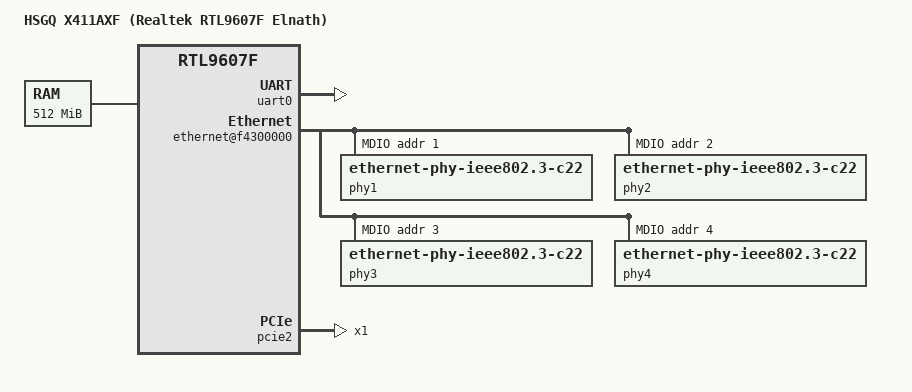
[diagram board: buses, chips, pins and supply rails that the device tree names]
// SPDX-License-Identifier: GPL-2.0-or-later
/*
 * HSGQ X411AXF — Realtek RTL9607F "Elnath" GPON ONU.
 *
 * The RTL9607F is a Cortina-Access "Venus"-family SoC (dual Cortex-A55,
 * GICv3) that Realtek productized after acquiring Cortina Access. This is a
 * minimal M1 device tree: enough to reach a serial console + initramfs shell
 * when the image is TFTP'd into RAM and booted by the vendor U-Boot. The
 * switch/GPON/WiFi nodes are added as their clean-room drivers land.
 *
 * Hardware facts (base MMIO 0xf43xxxxx; GIC lives above 4 GB at 0x4_f80xxxxx):
 *   - 2x Cortex-A55 @ up to 1.2 GHz, PSCI (SMC) secondary bring-up
 *   - DDR3, 512 MiB at physical 0x0
 *   - Console = Cortina custom-register UART at 0xf43291c0, GIC SPI 4,
 *     clocked by an always-on 125 MHz fixed clock (no PLL driver needed)
 */

/dts-v1/;

/ {
	model = "HSGQ X411AXF (Realtek RTL9607F Elnath)";
	compatible = "hsgq,x411axf", "realtek,rtl9607f";
	#address-cells = <0x02>;
	#size-cells = <0x02>;
	interrupt-parent = <&gic>;

	aliases {
		serial0 = &uart0;
	};

	chosen {
		stdout-path = "serial0:115200n8";
		bootargs = "earlycon console=ttyS0,115200 rootfstype=squashfs";
	};

	memory@0 {
		device_type = "memory";
		/* 512 MiB at 0x0 */
		reg = <0x00 0x00 0x00 0x20000000>;
	};

	/*
	 * The Cortina NI packet engine's two DMA pools live inside our DRAM and
	 * must be carved out: a small coherent descriptor buffer and the large
	 * non-cached packet-buffer pool. Both are below the TFTP load addr
	 * (0x05000000) region we boot from, so no collision.
	 */
	reserved-memory {
		#address-cells = <0x02>;
		#size-cells = <0x02>;
		ranges;

		/* ★★ build79: no-map so the CPU-EPP ring region is carved OUT of the RAM
		 * linear map -> memremap(MEMREMAP_WC) SUCCEEDS on it (build78's WC was
		 * REJECTED because a mapped System-RAM region can't be remapped WC).  The
		 * NE DMA is non-coherent, so the ring MUST be uncached; WC on a no-map
		 * carveout gives an uncached CPU view without touching NAPI/dma_sync. */
		ddr_cache_buffer: buf@bc48000 {
			no-map;
			reg = <0x00 0x0bc48000 0x00 0x20000>;
		};

		ddr_noncache_buffer: buf@9000000 {
			no-map;
			reg = <0x00 0x09000000 0x00 0x1628800>;
		};
	};

	psci {
		compatible = "arm,psci-0.2";
		method = "smc";
	};

	cpus {
		#address-cells = <0x02>;
		#size-cells = <0x00>;

		cpu0: cpu@0 {
			device_type = "cpu";
			compatible = "arm,cortex-a55";
			reg = <0x00 0x00>;
			enable-method = "psci";
		};

		cpu1: cpu@100 {
			device_type = "cpu";
			compatible = "arm,cortex-a55";
			reg = <0x00 0x100>;
			enable-method = "psci";
		};
	};

	timer {
		compatible = "arm,armv8-timer";
		/* secure, non-secure, virtual, hypervisor PPIs (13/14/11/10) */
		interrupts = <0x01 0x0d 0xff08>,
			     <0x01 0x0e 0xff08>,
			     <0x01 0x0b 0xff08>,
			     <0x01 0x0a 0xff08>;
	};

	gic: interrupt-controller@4f8000000 {
		compatible = "arm,gic-v3";
		#interrupt-cells = <0x03>;
		#redistributor-regions = <0x01>;
		interrupt-controller;
		/* GICD @ 0x4_f8000000 (64 KiB), GICR @ 0x4_f8040000 (512 KiB) */
		reg = <0x04 0xf8000000 0x00 0x10000>,
		      <0x04 0xf8040000 0x00 0x80000>;
		interrupts = <0x01 0x09 0x04>;
	};

	uart_clk: uart-clk {
		compatible = "fixed-clock";
		#clock-cells = <0x00>;
		clock-frequency = <125000000>;	/* 125 MHz APB */
	};

	uart0: serial@f43291c0 {
		compatible = "cortina,serial";
		reg = <0x00 0xf43291c0 0x00 0x30>;
		interrupts = <0x00 0x04 0x04>;	/* GIC SPI 4, level-high */
		clocks = <&uart_clk>;
		clock-frequency = <125000000>;
		status = "okay";
	};

	/*
	 * Cortina NI (network engine) — the RTL9607F Ethernet packet engine.
	 * 22 register windows read BY POSITIONAL INDEX (null placeholder slots
	 * keep their position). resets=/pinctrl-0/nvmem-cells are deliberately
	 * OMITTED for M2: the bootloader already de-asserted/muxed the NI (it
	 * TFTPs through it), so of_*_get soft-fails and the driver continues.
	 */
	ethernet@f4300000 {
		compatible = "cortina,ni-interface";
		reg = <0x04 0xf4300000 0x00 0x10000  0x04 0xf4320194 0x00 0x10
		       0x04 0xf4329128 0x00 0x48     0x00 0xf4500000 0x00 0x2000
		       0x04 0xf7001000 0x00 0x1000   0x00 0x80000000 0x00 0x2c000
		       0x00 0x0bc48000 0x00 0x20000  0x01 0x09000000 0x00 0x1628800
		       0x04 0xf5500000 0x00 0xc000   0x04 0xf4320000 0x00 0x1000
		       0x04 0xf432d000 0x00 0x20b8   0x04 0xf4600000 0x00 0x100000
		       0x04 0x00 0x00 0x00           0x04 0xf4330000 0x00 0x10000
		       0x04 0xd000 0x00 0x00         0x04 0xf4700000 0x00 0x100
		       0x00 0x90301000 0x00 0x2000   0x04 0x00 0x00 0x00
		       0x00 0x90300800 0x00 0xb8     0x00 0x90300900 0x00 0x10
		       0x00 0x90300a00 0x00 0xec     0x00 0x90300b00 0x00 0x3c4>;
		interrupt-parent = <&gic>;
		interrupts = <0x00 0x54 0x04>, <0x00 0x55 0x04>, <0x00 0x56 0x04>, <0x00 0x57 0x04>,
			     <0x00 0x58 0x04>, <0x00 0x59 0x04>, <0x00 0x5a 0x04>, <0x00 0x5b 0x04>,
			     <0x00 0x4c 0x04>, <0x00 0x4d 0x04>, <0x00 0x4e 0x04>, <0x00 0x4f 0x04>,
			     <0x00 0x48 0x04>, <0x00 0x49 0x04>, <0x00 0x4a 0x04>, <0x00 0x4b 0x04>;
		memory-region = <&ddr_cache_buffer>, <&ddr_noncache_buffer>;
		/* ★★ 2026-07-15: NO dma-coherent - the NE runs FULLY NON-COHERENT on our
		 * kernel.  The ACE/coherent fabric path does not work here even though it
		 * does on stock: the CPU-EPP descriptor writeback with the stock coherent
		 * attr 0x12008060 raised QM_INT_SRC bit30 (axim_cpuepp_resp_error) per frame
		 * and never reached DRAM, and the DMA-LSO ACE descriptor fetch (usr_pat
		 * ace_cmd) never completed (TXQ rptr pinned 0).  Every DMA path is therefore
		 * explicitly non-coherent now: RX ring + RX pool are memremap-WC with the
		 * non-coherent QM AXI attrs, and the TX rings/buffers rely on the DMA API's
		 * cache maintenance - which dma-coherent would silently DISABLE (it makes
		 * dma_alloc_coherent return cached memory and dma_map_single skip the cache
		 * clean).  (The old build51 note claimed dma-coherent made the coherent
		 * writeback work; live 0x611c bit30 + poison descriptors disproved that.) */

		ethernet@0 {
			local-mac-address = [00 00 00 00 00 00];
		};

		mdio {
			#address-cells = <0x01>;
			#size-cells = <0x00>;

			phy1: phy@1 { compatible = "ethernet-phy-ieee802.3-c22"; reg = <0x01>; };
			phy2: phy@2 { compatible = "ethernet-phy-ieee802.3-c22"; reg = <0x02>; };
			phy3: phy@3 { compatible = "ethernet-phy-ieee802.3-c22"; reg = <0x03>; };
			phy4: phy@4 { compatible = "ethernet-phy-ieee802.3-c22"; reg = <0x04>; };
		};
	};

	/*
	 * Cortina GPON MAC (CA8277C class) — PON register window 0x4_F5500000,
	 * 48 KiB; the GPON MAC block sits at window + 0x6000.  Validated on real
	 * hardware: the vendor-id register reads ASCII "XPON" (the ONU serial
	 * number prefix).  The same window is also listed positionally in the
	 * cortina,ni-interface node; the gpon driver ioremaps it non-exclusively.
	 */
	gpon@f5500000 {
		compatible = "realtek,rtl9607f-gpon";
		reg = <0x04 0xf5500000 0x00 0xc000>;
		/*
		 * The GPON MAC has no dedicated GIC SPI: its int_top feeds
		 * GLOBAL_PON_INTERRUPT_0 (GLB+0x180, PON_MACi bit0), which is
		 * line 5 of the NE global sub-controller ne_ictl@0xf4320194
		 * (cortina,per-ictl: +0 STATUS/+4 ENABLE), whose output is
		 * GIC SPI 1 (stock DTB: ne_ictl interrupts = <0 1 4>, child
		 * pon_ictl@0 interrupts = <5>).  We carry no per-ictl irqchip,
		 * so the gpon driver takes GIC SPI 1 directly (IRQF_SHARED)
		 * and manages the PON_MACe / ne_ictl-line-5 gates itself.
		 */
		interrupts = <0x00 0x01 0x04>;	/* GIC SPI 1, level-high (NE global) */
	};

	/*
	 * PCIe root complex "pcie2" -> 2.4 GHz WiFi endpoint [10ec:0192] RTL8192F.
	 * Faithful to the board's stock DTB (mtd6 UBI DTB0): reg map, GIC SPI 46/47,
	 * pci-domain 1, and the authentic revB v1.1 (2024.06.04) SerDes table.
	 * clocks/resets/phys/iommus are omitted for bring-up (the glue treats them
	 * optional and the bootloader already ungated the PCIe clocks).
	 * ★ XTAL FLAG: this is the non-40M SerDes variant; if this board runs a
	 * 40 MHz crystal, replace the pairs with the stock serdes-cfg-dataB_40M set.
	 */
	pcie2: pcie@f4327000 {
		compatible = "cortina,venus-pcie";
		reg = <0x00 0xf4327000 0x00 0x400>,	/* glbl_regs   */
		      <0x00 0xc0000000 0x00 0x1000>,	/* rc_dbi      */
		      <0x00 0xc0001000 0x00 0x2000>,	/* config      */
		      <0x00 0xc0300000 0x00 0x100000>,	/* iatu        */
		      <0x00 0xf4337000 0x00 0x1000>;	/* serdes_phy  */
		reg-names = "glbl_regs", "rc_dbi", "config", "iatu", "serdes_phy";

		device_type = "pci";
		#address-cells = <0x03>;
		#size-cells = <0x02>;
		bus-range = <0x00 0xff>;
		ranges = <0x81000000 0x00 0x00        0x00 0xc0003000 0x00 0x10000>,	/* downstream I/O  */
			 <0x82000000 0x00 0xc0400000 0x00 0xc0400000 0x00 0xfc00000>;	/* non-prefetch mem */

		id = <0x02>;
		num-viewport = <0x01>;
		num-lanes = <0x01>;
		linux,pci-domain = <0x01>;

		interrupts = <0x00 0x2e 0x04>, <0x00 0x2f 0x04>;	/* GIC SPI 46,47 level-high (stock) */

		/* 25 MHz-XTAL SerDes table (from a live stock dump).  It carries stock's
		 * low-block CMU/analog config (0x08/0x0c/0x14/0x1c, 0x3c-0x50, 0x68/0x94/0x98/
		 * 0xa4/0xa8/0xb0/0xb4/0xb8) which the stock DTB write-list omits (it relies on
		 * them being HW/cal defaults) -- these are what LOCK the CMU cold (bare
		 * write-list alone reads 0x500e = unlocked; +these -> 0x780e).  page0 also uses
		 * the RX manual-override VALUES (0x2c=0xa91d bit4 SET, 0x90=0x4f28) so the RX
		 * front-end locks from the fixed code applied IN-RESET (the CMU only locks during
		 * the in-reset table apply; an out-of-reset runtime cal drops the lock and cannot
		 * re-lock on this revB silicon).  Result: CMU+CDR lock cold 0x780e.  Each page
		 * ends with the 0x24/0x124 bit9 cal edge. */
		serdes-cfg-dataB = <0x04 0xa855 0x10 0x5000 0x18 0x1f 0x20 0x3591 0x24 0x520c 0x28 0xc670 0x2c 0xa90d 0x30 0xc008 0x34 0xf732 0x38 0x5000 0x64 0x7d63 0x6c 0xea1 0x70 0x2001 0x74 0xda1f 0x78 0x66eb 0x80 0xd488 0x84 0x77dd 0x88 0x23 0x8c 0x1b63 0x90 0x4f30 0x9c 0x1d6 0xa0 0xf802 0xac 0xb8d3 0xbc 0x7055 0xc8 0xf0f3 0x24 0x500c 0x24 0x520c 0x104 0xa84a 0x110 0x5000 0x118 0x1f 0x120 0x3591 0x124 0x520c 0x128 0xc670 0x12c 0xa90d 0x130 0xc008 0x134 0xf732 0x138 0x5000 0x164 0x7d63 0x16c 0xf41 0x170 0x2001 0x174 0xda1f 0x180 0xd4aa 0x188 0x23 0x18c 0x1b63 0x190 0x4f0c 0x19c 0x1d6 0x1a0 0xf802 0x1ac 0xb9d3 0x1bc 0xd04a 0x1c8 0xf0f3 0x124 0x500c 0x124 0x520c>;  /* AUTO table (0x2c=0xa90d): the LONG-cal ramp runs the HW cal engine (needs auto mode); manual mode blocks cal-done (bit4). */

		/* M3a/M3b PCIe bring-up boot: enabled to test the clean-room glue in
		 * isolation (WiFi driver not yet built) — expect "cortina-pcie … Link up"
		 * + [10ec:0192] endpoint enumeration.  If the glue SErrors on serdes MMIO,
		 * the boot log will show it. */
		status = "okay";

		#interrupt-cells = <0x01>;
		interrupt-map-mask = <0x00 0x00 0x00 0x07>;
		interrupt-map = <0x00 0x00 0x00 0x01 &pcie2_intc 0x00>,	/* INT A */
				<0x00 0x00 0x00 0x02 &pcie2_intc 0x01>,	/* INT B */
				<0x00 0x00 0x00 0x03 &pcie2_intc 0x02>,	/* INT C */
				<0x00 0x00 0x00 0x04 &pcie2_intc 0x03>;	/* INT D */

		pcie2_intc: interrupt-controller {
			interrupt-controller;
			#address-cells = <0x00>;
			#interrupt-cells = <0x01>;
		};
	};
};
